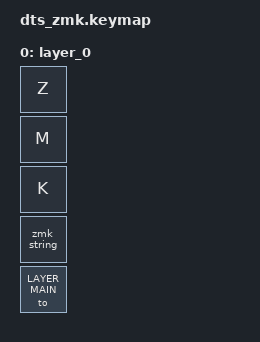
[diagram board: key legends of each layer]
#include <behaviors.dtsi>
#include <dt-bindings/zmk/keys.h>

// Define macro for layers.
#define LAYER_MAIN 0

/ {
	keymap {
		compatible = "zmk,keymap";

		layer_0 {
			bindings = <
				&kp Z
				&kp M
				&kp K
				&zmk_string
				&to LAYER_MAIN
			>;
		};
	};

	ZMK_MACRO(zmk_string, wait-ms = <10>; tap-ms = <10>; bindings = <&macro_tap &kp Z &kp M &kp K>;)
};
